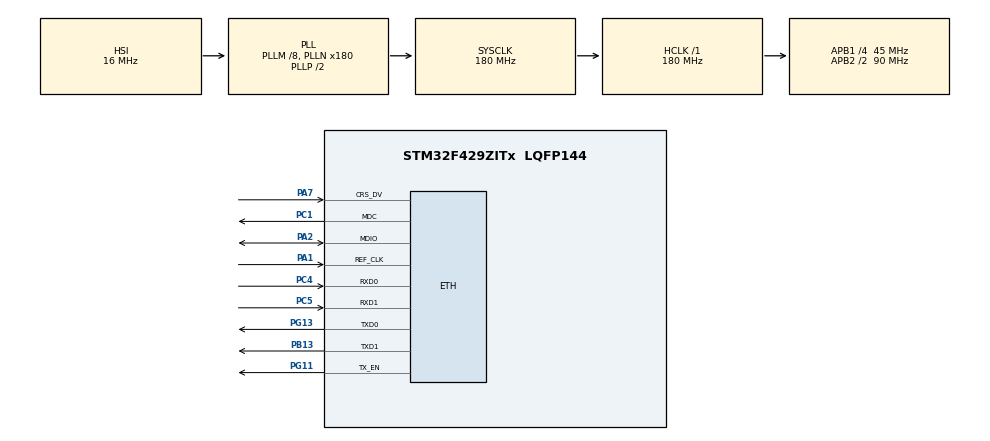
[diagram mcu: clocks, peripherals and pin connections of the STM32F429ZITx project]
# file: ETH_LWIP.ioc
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ETH.MACAddr=04\:80\:E1\:0C\:00\:0C
ETH.MediaInterface=ETH_MEDIA_INTERFACE_RMII
ETH.PhyAddress=0
FREERTOS.Tasks01=defaultTask,0,256,StartDefaultTask,Default,NULL,Dynamic,NULL,NULL
FREERTOS.configTOTAL_HEAP_SIZE=138060
LWIP.GATEWAY_ADDRESS=010.011.000.040
LWIP.IP_ADDRESS=010.011.000.233
LWIP.LWIP_DHCP=0
LWIP.MEMP_NUM_TCP_SEG=24
LWIP.NETMASK_ADDRESS=255.255.255.000
LWIP.TCP_MSS=460
LWIP.TCP_SND_BUF=1840
LWIP.TCP_WND=2048
LWIP.Version=v2.0.3_Cube
Mcu.Family=STM32F4
Mcu.Name=STM32F429ZITx
Mcu.Package=LQFP144
NVIC.ETH_IRQn=true\:5\:0\:false\:false\:true\:true\:false\:true
NVIC.PriorityGroup=NVIC_PRIORITYGROUP_4
NVIC.TIM1_UP_TIM10_IRQn=true\:0\:0\:false\:false\:true\:false\:false\:true
NVIC.TimeBase=TIM1_UP_TIM10_IRQn
NVIC.TimeBaseIP=TIM1
PA1.Mode=RMII
PA1.Signal=ETH_REF_CLK
PA13.Mode=Serial_Wire
PA13.Signal=SYS_JTMS-SWDIO
PA14.Mode=Serial_Wire
PA14.Signal=SYS_JTCK-SWCLK
PA2.Mode=RMII
PA2.Signal=ETH_MDIO
PA7.Mode=RMII
PA7.Signal=ETH_CRS_DV
PB13.Mode=RMII
PB13.Signal=ETH_TXD1
PC1.Mode=RMII
PC1.Signal=ETH_MDC
PC4.Mode=RMII
PC4.Signal=ETH_RXD0
PC5.Mode=RMII
PC5.Signal=ETH_RXD1
PG11.Mode=RMII
PG11.Signal=ETH_TX_EN
PG13.Mode=RMII
PG13.Signal=ETH_TXD0
ProjectManager.HeapSize=0x2000
ProjectManager.StackSize=0x4000
ProjectManager.TargetToolchain=MDK-ARM V5.27
RCC.48MHZClocksFreq_Value=90000000
RCC.AHBFreq_Value=180000000
RCC.APB1CLKDivider=RCC_HCLK_DIV4
RCC.APB1Freq_Value=45000000
RCC.APB1TimFreq_Value=90000000
RCC.APB2CLKDivider=RCC_HCLK_DIV2
RCC.APB2Freq_Value=90000000
RCC.APB2TimFreq_Value=180000000
RCC.CortexFreq_Value=180000000
RCC.HCLKFreq_Value=180000000
RCC.HSE_VALUE=25000000
RCC.HSI_VALUE=16000000
RCC.LSE_VALUE=32768
RCC.PLLM=8
RCC.PLLN=180
RCC.SYSCLKFreq_VALUE=180000000
RCC.SYSCLKSource=RCC_SYSCLKSOURCE_PLLCLK
RCC.VCOOutputFreq_Value=360000000
VP_FREERTOS_VS_CMSIS_V1.Mode=CMSIS_V1
VP_LWIP_VS_Enabled.Mode=Enabled
VP_SYS_VS_tim1.Mode=TIM1
board=custom

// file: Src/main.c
/* USER CODE BEGIN Header */
/**
  ******************************************************************************
  * @file           : main.c
  * @brief          : Main program body
  ******************************************************************************
  * @attention
  *
  * <h2><center>&copy; Copyright (c) 2020 STMicroelectronics.
  * All rights reserved.</center></h2>
  *
  * This software component is licensed by ST under Ultimate Liberty license
  * SLA0044, the "License"; You may not use this file except in compliance with
  * the License. You may obtain a copy of the License at:
  *                             www.st.com/SLA0044
  *
  ******************************************************************************
  */
/* USER CODE END Header */

#include "main.h"
#include "cmsis_os.h"
#include "lwip.h"

/* USER CODE BEGIN Includes */
#include "app_ethernet.h"
#include "httpserver-netconn.h"
/* USER CODE END Includes */

osThreadId defaultTaskHandle;
/* USER CODE BEGIN PV */
extern struct netif gnetif;
/* USER CODE END PV */

void SystemClock_Config(void);
static void MX_GPIO_Init(void);
void StartDefaultTask(void const * argument);

/* USER CODE BEGIN PFP */
static void NetifConfig(void);
/* USER CODE END PFP */

int main(void)
{

  /* MCU Configuration--------------------------------------------------------*/

  /* Reset of all peripherals, Initializes the Flash interface and the Systick. */
  HAL_Init();

  /* Configure the system clock */
  SystemClock_Config();

  /* Initialize all configured peripherals */
  MX_GPIO_Init();

  /* Create the thread(s) */
  /* definition and creation of defaultTask */
  osThreadDef(defaultTask, StartDefaultTask, osPriorityNormal, 0, 256);
  defaultTaskHandle = osThreadCreate(osThread(defaultTask), NULL);

  /* Start scheduler */
  osKernelStart();

  /* We should never get here as control is now taken by the scheduler */

  /* Infinite loop */
  while (1)
  {
  }
}

void SystemClock_Config(void)
{
  RCC_OscInitTypeDef RCC_OscInitStruct = {0};
  RCC_ClkInitTypeDef RCC_ClkInitStruct = {0};

  /** Configure the main internal regulator output voltage
  */
  __HAL_RCC_PWR_CLK_ENABLE();
  __HAL_PWR_VOLTAGESCALING_CONFIG(PWR_REGULATOR_VOLTAGE_SCALE1);
  /** Initializes the CPU, AHB and APB busses clocks
  */
  RCC_OscInitStruct.OscillatorType = RCC_OSCILLATORTYPE_HSI;
  RCC_OscInitStruct.HSIState = RCC_HSI_ON;
  RCC_OscInitStruct.HSICalibrationValue = RCC_HSICALIBRATION_DEFAULT;
  RCC_OscInitStruct.PLL.PLLState = RCC_PLL_ON;
  RCC_OscInitStruct.PLL.PLLSource = RCC_PLLSOURCE_HSI;
  RCC_OscInitStruct.PLL.PLLM = 8;
  RCC_OscInitStruct.PLL.PLLN = 180;
  RCC_OscInitStruct.PLL.PLLP = RCC_PLLP_DIV2;
  RCC_OscInitStruct.PLL.PLLQ = 4;
  if (HAL_RCC_OscConfig(&RCC_OscInitStruct) != HAL_OK)
  {
    Error_Handler();
  }
  /** Activate the Over-Drive mode
  */
  if (HAL_PWREx_EnableOverDrive() != HAL_OK)
  {
    Error_Handler();
  }
  /** Initializes the CPU, AHB and APB busses clocks
  */
  RCC_ClkInitStruct.ClockType = RCC_CLOCKTYPE_HCLK|RCC_CLOCKTYPE_SYSCLK
                              |RCC_CLOCKTYPE_PCLK1|RCC_CLOCKTYPE_PCLK2;
  RCC_ClkInitStruct.SYSCLKSource = RCC_SYSCLKSOURCE_PLLCLK;
  RCC_ClkInitStruct.AHBCLKDivider = RCC_SYSCLK_DIV1;
  RCC_ClkInitStruct.APB1CLKDivider = RCC_HCLK_DIV4;
  RCC_ClkInitStruct.APB2CLKDivider = RCC_HCLK_DIV2;

  if (HAL_RCC_ClockConfig(&RCC_ClkInitStruct, FLASH_LATENCY_5) != HAL_OK)
  {
    Error_Handler();
  }
}

static void MX_GPIO_Init(void)
{

  /* GPIO Ports Clock Enable */
  __HAL_RCC_GPIOC_CLK_ENABLE();
  __HAL_RCC_GPIOA_CLK_ENABLE();
  __HAL_RCC_GPIOB_CLK_ENABLE();
  __HAL_RCC_GPIOG_CLK_ENABLE();

}

/* USER CODE BEGIN 4 */
static void NetifConfig(void){

  ip_addr_t ipaddr;
  ip_addr_t netmask;
  ip_addr_t gw;

  IP_ADDR4(&ipaddr,IP_ADDR0,IP_ADDR1,IP_ADDR2,IP_ADDR3);
  IP_ADDR4(&netmask,NETMASK_ADDR0,NETMASK_ADDR1,NETMASK_ADDR2,NETMASK_ADDR3);
  IP_ADDR4(&gw,GW_ADDR0,GW_ADDR1,GW_ADDR2,GW_ADDR3);

  netif_add(&gnetif, &ipaddr, &netmask, &gw, NULL, &ethernetif_init, &tcpip_input);
  netif_set_default(&gnetif); /*  Registers the default network interface. */

  if (netif_is_link_up(&gnetif)){
		netif_set_up(&gnetif); /* When the netif is fully configured this function must be called.*/
	}
  else{
		netif_set_down(&gnetif); /* When the netif link is down this function must be called */
	}

}
/* USER CODE END 4 */

void StartDefaultTask(void const * argument)
{
  /* init code for LWIP */
  //MX_LWIP_Init();
  /* USER CODE BEGIN 5 */

  tcpip_init(NULL, NULL); 			/* Create tcp_ip stack thread */
  NetifConfig();								/* Initialize the LwIP stack */
  http_server_netconn_init(); 	/* Initialize webserver demo */
  //User_notification(&gnetif); /* Notify user about the network interface config */

  /* Infinite loop */
  for(;;){
		osThreadTerminate(NULL);
  }
  /* USER CODE END 5 */
}

void HAL_TIM_PeriodElapsedCallback(TIM_HandleTypeDef *htim)
{
  if (htim->Instance == TIM1) {
    HAL_IncTick();
  }
}

void Error_Handler(void)
{
}

/************************ (C) COPYRIGHT STMicroelectronics *****END OF FILE****/
